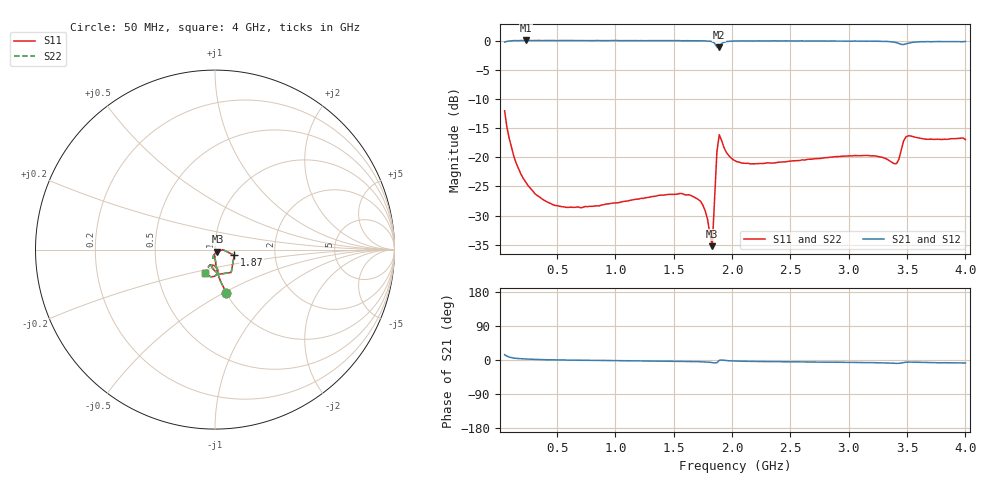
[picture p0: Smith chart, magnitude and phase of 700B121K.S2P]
!  American Technical Ceramics  Date:  3/13/98
!  One Norden Lane
!  Huntington Station,  NY.  11746-2102
!  Tel:  (516) 547-5700  Fax:  (516) 547-5748
!  Part Number  700B121K
!  Description: Porcelain, High Q, Low ESR
!  Application: Bypass, Coupling, Timing, Feedback
!  Tuning, Impedance Match, Blocking
# GHZ S DB R 50
! Freq  |S11|  S11 Ph  |S21|  S21 Ph  |S12|  S12 Ph  |S22|  S22 Ph
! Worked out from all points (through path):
!   201 points, 50 MHz to 4 GHz, reference 50 ohm
!   highest |S21| = 0.01 dB at 230 MHz (marker M1); lowest = -1.1 dB at 1.89 GHz (marker M2)
!   group delay of S21, straight-line fit = 7.44 ps
!   lowest |S11| = -35.2 dB at 1.83 GHz (marker M3), VSWR 1.04, Z = 51.3 - j1.13 ohm
!   |S11| at or under -10 dB: start of sweep to end of sweep
!   |S22| runs from -35.2 to -12.0 dB; largest |S21 - S12| = 0
!   S11 on the Smith chart (normalised r, x): 50 MHz: 1.00, -0.52; 1.87 GHz: 1.24, -0.08; 4 GHz: 0.87, -0.23
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0.05  -12.04 -75.2  -0.27 14.0  -0.27 14.0  -12.04 -75.2
0.07  -14.89 -80.1  -0.15 10.2  -0.15 10.2  -14.89 -80.1
0.13  -19.90 -85.5  0.00 4.9  0.00 4.9  -19.90 -85.5
0.23  -24.24 -88.1  0.01 2.7  0.01 2.7  -24.24 -88.1
0.46  -28.10 -91.2  0.00 0.6  0.00 0.6  -28.10 -91.2
0.72  -28.60 -94.7  -0.01 -0.8  -0.01 -0.8  -28.60 -94.7
1.37  -26.54 -102.4  -0.02 -2.8  -0.02 -2.8  -26.54 -102.4
1.57  -26.22 -104.8  -0.04 -3.4  -0.04 -3.4  -26.22 -104.8
1.73  -27.56 -105.4  -0.03 -4.6  -0.03 -4.6  -27.56 -105.4
1.79  -30.66 -100.3  -0.11 -5.4  -0.11 -5.4  -30.66 -100.3
1.83  -35.24 -39.4  -0.21 -6.8  -0.21 -6.8  -35.24 -39.4
1.87  -19.04 -16.6  -1.10 -7.1  -1.10 -7.1  -19.04 -16.6
1.89  -16.14 -54.6  -1.14 -1.0  -1.14 -1.0  -16.14 -54.6
1.93  -18.31 -89.2  -0.31 -0.7  -0.31 -0.7  -18.31 -89.2
2.03  -20.66 -101.6  -0.09 -2.7  -0.09 -2.7  -20.66 -101.6
2.7  -20.28 -109.5  -0.08 -5.2  -0.08 -5.2  -20.28 -109.5
3.17  -19.71 -111.0  -0.11 -6.8  -0.11 -6.8  -19.71 -111.0
3.35  -20.61 -107.3  -0.19 -8.1  -0.19 -8.1  -20.61 -107.3
3.41  -21.09 -93.5  -0.37 -8.9  -0.37 -8.9  -21.09 -93.5
3.47  -17.21 -85.2  -0.69 -6.8  -0.69 -6.8  -17.21 -85.2
3.51  -16.33 -97.1  -0.46 -5.4  -0.46 -5.4  -16.33 -97.1
4  -16.98 -112.9  -0.17 -7.9  -0.17 -7.9  -16.98 -112.9
